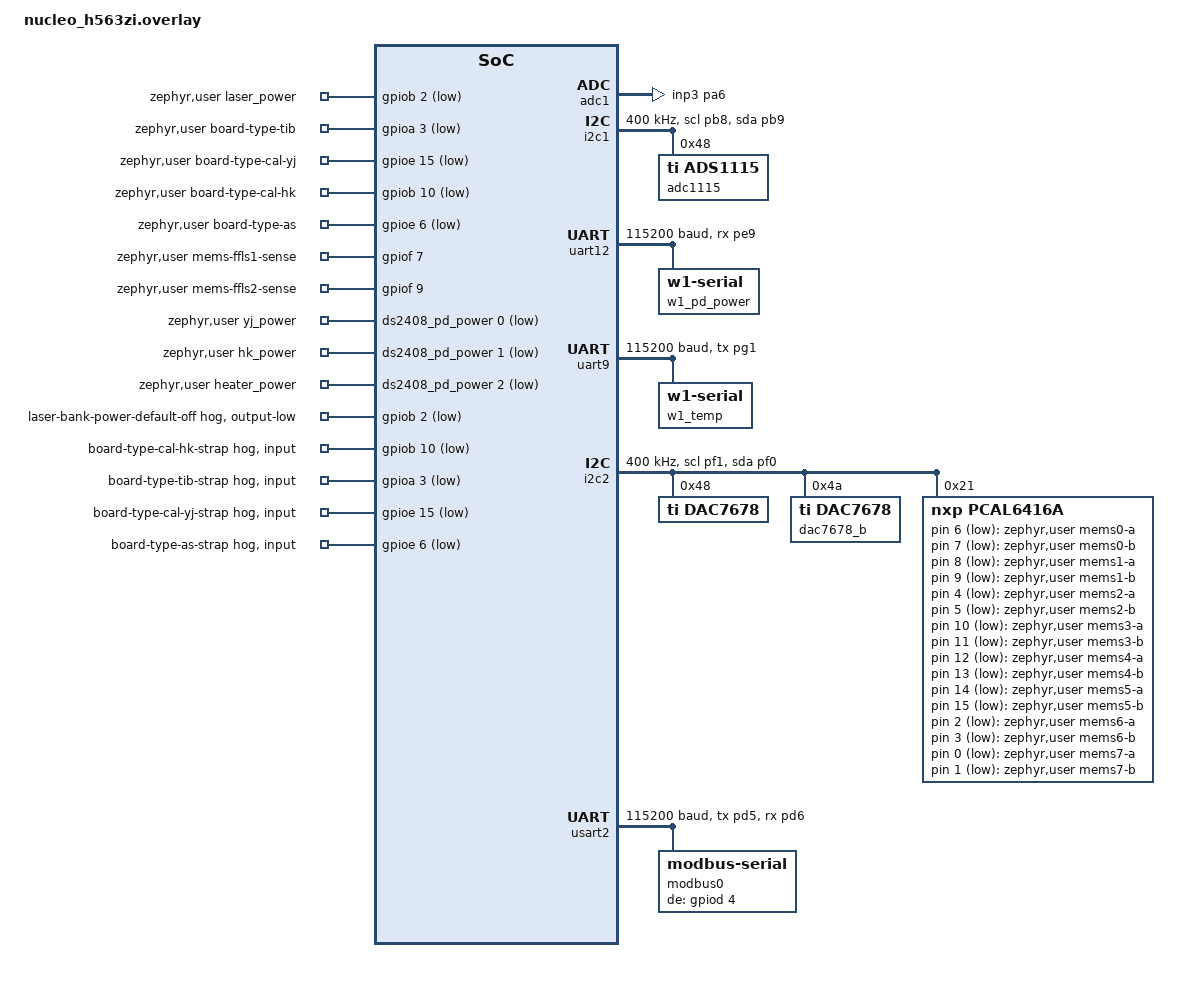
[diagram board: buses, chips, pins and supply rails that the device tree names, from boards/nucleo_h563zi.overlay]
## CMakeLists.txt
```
#-------------------------------------------------------------------------------
# HiSPEC-TIB Zephyr Application
#
# Copyright (c) 2021 Nordic Semiconductor ASA
# SPDX-License-Identifier: Apache-2.0

cmake_minimum_required(VERSION 3.13.1)

if(NOT SYSBUILD)
    message(FATAL_ERROR "HISPEC requires MCUboot: use west build --sysbuild and app/build-ota (or app/build-ota-timing).")
endif()

find_package(Zephyr REQUIRED HINTS $ENV{ZEPHYR_BASE})

if(NOT CONFIG_COO_OTA OR NOT CONFIG_BOOTLOADER_MCUBOOT OR NOT CONFIG_MCUBOOT_GENERATE_CONFIRMED_IMAGE)
    message(FATAL_ERROR "HISPEC requires OTA and MCUboot confirmed USB images in every build.")
endif()

project(app LANGUAGES C)

set(HISPEC_BUILD_VERSION_HEADER
        ${CMAKE_CURRENT_BINARY_DIR}/generated/hispec_build_version.h)

add_custom_target(hispec_build_version
        COMMAND ${CMAKE_COMMAND}
                -DSOURCE_DIR=${CMAKE_CURRENT_SOURCE_DIR}
                -DOUTPUT_FILE=${HISPEC_BUILD_VERSION_HEADER}
                -P ${CMAKE_CURRENT_SOURCE_DIR}/cmake/git_build_version.cmake
        BYPRODUCTS ${HISPEC_BUILD_VERSION_HEADER}
        COMMENT "Generating HISPEC git build version")

target_include_directories(app PRIVATE
        ${CMAKE_CURRENT_BINARY_DIR}/generated
)

add_dependencies(app hispec_build_version)

target_sources(app PRIVATE
        src/main.c
        src/app_identity.c
        src/app_settings.c
        src/attenuator.c
        src/attenuator_calibration.c
        src/calibration_fit.c
        src/calibration_storage.c
        src/laser_calibration.c
        src/attenuator_command.c
        src/command.c
        src/devices.c
        src/housekeeping.c
        src/laser_command.c
        src/lasers.c
        src/laserbank_tempcontrol.c
        src/maiman.c
        src/mems_command.c
        src/photodiode.c
        src/photodiode_command.c
        src/throughput_command.c
        src/throughput_monitor.c
        src/mems_switching.c
)

target_sources_ifdef(CONFIG_SNTP app PRIVATE
        src/sntp_sync.c
)
```

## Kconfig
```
# Copyright (c) 2021 Nordic Semiconductor ASA
# SPDX-License-Identifier: Apache-2.0
#
# This file is the application Kconfig entry point. All application Kconfig
# options can be defined here or included via other application Kconfig files.
# You can browse these options using the west targets menuconfig (terminal) or
# guiconfig (GUI).

menu "Zephyr"
source "Kconfig.zephyr"
endmenu

config NET_DHCPV4_OPTION_NTP_SERVER
	default y if SNTP && NET_DHCPV4

config APP_DEFAULT_DNS_SERVER
	string "Default manual DNS server IPv4 address"
	default "0.0.0.0"
	help
	  Default app-owned manual DNS server stored in the initial settings
	  snapshot. Use 0.0.0.0 to leave manual DNS disabled.

config APP_DEFAULT_NTP_SERVER
	string "Default manual NTP server IPv4 address"
	default "0.0.0.0"
	help
	  Default app-owned manual NTP server stored in the initial settings
	  snapshot. The current settings schema stores IPv4 strings, not
	  hostnames. Use 0.0.0.0 to prefer DHCP-provided NTP.

config SET_SWITCH_STATE_AT_BOOT
	bool "Reassert persisted MEMS static switch state at boot"
	default y
	help
	  If enabled, boot initializes each MEMS switch target from the last
	  user-commanded static state stored in app settings. The first MEMS
	  service tick then resends that pulse because firmware cannot verify
	  physical switch position across reboot or offline changes.

config RESUME_TOGGLE_STATE_AT_BOOT
	bool "Resume persisted MEMS toggle and split requests at boot"
	default n
	help
	  If enabled, boot restarts persisted MEMS toggle/split requests using
	  their originally commanded duration. Runtime remaining time is not
	  preserved across reboot because doing so would require frequent NVS
	  writes while switching.

choice SNTP_LOG_LEVEL_CHOICE
	default SNTP_LOG_LEVEL_DBG if SNTP
endchoice

module = APP
module-str = APP
source "subsys/logging/Kconfig.template.log_config"

module = MAIMAN
module-str = Maiman Modbus driver
source "subsys/logging/Kconfig.template.log_config"

module = LASERS
module-str = Laser control
source "subsys/logging/Kconfig.template.log_config"
```

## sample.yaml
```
sample:
  description: HiSPEC-TIB application
  name: hispec-tib-app
common:
  build_only: true
  integration_platforms:
    - nucleo_h563zi
tests:
  app.default: {}
  app.debug:
    extra_overlay_confs:
      - debug.conf
```

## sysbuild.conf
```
# Observatory policy: integrity-checked images on the trusted instrument network.
SB_CONFIG_BOOTLOADER_MCUBOOT=y
SB_CONFIG_BOOT_SIGNATURE_TYPE_NONE=y
SB_CONFIG_MCUBOOT_MODE_SWAP_USING_OFFSET=y
```

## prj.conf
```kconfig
# HiSPEC-TIB Application Configuration
# Copyright (c) 2025 Caltech Optical Observatories
# SPDX-License-Identifier: Apache-2.0

# Bring-up diagnostics. Thread names and monitor data feed thread_analyzer and
# crash output; keep enabled while stack sizing and worker ownership are moving.
# Later removal command: set these three symbols to n after thread stacks settle.
CONFIG_THREAD_MONITOR=y
CONFIG_THREAD_NAME=y
CONFIG_DEBUG_THREAD_INFO=y

# Assertions and stack sentinels are useful during board bring-up because they
# fail close to the bad API use or stack overflow. Production firmware may turn
# them off after field soak testing.
# Later removal command: set CONFIG_ASSERT=n and CONFIG_STACK_SENTINEL=n.
CONFIG_ASSERT=y
CONFIG_STACK_SENTINEL=y

# General OS and logging. Deferred mode keeps LOG_* output out of timing
# paths. Serial command responses use printk heavily, including per-character
# help text, so keep printk off the deferred logger to avoid log-buffer drops.
CONFIG_LOG=y
CONFIG_LOG_MODE_IMMEDIATE=n
CONFIG_LOG_PRINTK=n
CONFIG_LOG_BACKEND_SHOW_COLOR=n
# One shared deferred-log buffer; this costs 2 KiB total, not per module.
CONFIG_LOG_BUFFER_SIZE=2048
# Keep deferred logging above SNTP so slow clock sync cannot delay diagnostics.
CONFIG_LOG_PROCESS_THREAD_CUSTOM_PRIORITY=y
CONFIG_LOG_PROCESS_THREAD_PRIORITY=13
# Global rate-limit support. Code still has to use LOG_*_RATELIMIT_* at repeated
# call sites; this does not automatically throttle every LOG_ERR.
CONFIG_LOG_RATELIMIT=y
CONFIG_LOG_RATELIMIT_INTERVAL_MS=10000

# Per-subsystem debug controls. Keep ADC/I2C quiet during timing diagnostics;
# their logs can be re-enabled for focused bus bring-up. Photodiode sampling
# owns bounded ADC failure reporting so a missing ADC cannot flood the logger.
CONFIG_NVS_LOG_LEVEL_DBG=n
CONFIG_ADC_LOG_LEVEL_OFF=y
CONFIG_GPIO_LOG_LEVEL_DBG=n
CONFIG_I2C_LOG_LEVEL_DBG=n
#CONFIG_COO_MQTT_LOG_LEVEL_INF=n
CONFIG_COO_MQTT_LOG_LEVEL_WRN=y
CONFIG_MAIMAN_LOG_LEVEL_INF=y
CONFIG_LASERS_LOG_LEVEL_INF=y


# Main and system-workqueue stacks. Networking, MQTT, settings, and JSON parsing
# all run early enough that conservative stack sizes are more useful than tight
# release sizing right now.
# Later trimming command: lower these after thread_analyzer shows stable margin.
CONFIG_MAIN_STACK_SIZE=8192
CONFIG_MAIN_THREAD_PRIORITY=4
CONFIG_SYSTEM_WORKQUEUE_STACK_SIZE=2048
# Zephyr Modbus client RX completion runs on the system workqueue. Keep it
# preemptible: MEMS (0), PD (1), Modbus/system (2), throughput (3), MQTT (4).
# Received frames must be parsed before throughput math can consume the
# caller's response deadline. Blocking hardware work stays on the app queue.
CONFIG_SYSTEM_WORKQUEUE_PRIORITY=2

# Console and formatted output. printk/stdout/UART console are used by Zephyr
# logging and serial bring-up; floating-point printf is used for engineering
# telemetry and calibration/status text.
# Later removal command: set CONFIG_CBPRINTF_FP_SUPPORT=n if all formatted
# floats are removed from console/MQTT responses.
CONFIG_PRINTK=y
CONFIG_CBPRINTF_FP_SUPPORT=y
CONFIG_STDOUT_CONSOLE=y
CONFIG_CONSOLE=y
CONFIG_UART_CONSOLE=y
CONFIG_CONSOLE_SUBSYS=y
CONFIG_CONSOLE_GETCHAR=y
CONFIG_CONSOLE_GETCHAR_BUFSIZE=128

# Stack initialization and automatic thread reports catch stack margin problems.
# The analyzer is intentionally noisy-but-bounded at 20 s, not a fast loop.
# Later removal command: set CONFIG_THREAD_ANALYZER_AUTO=n, then disable
# CONFIG_THREAD_ANALYZER and CONFIG_INIT_STACKS when stack sizes are settled.
CONFIG_INIT_STACKS=y
CONFIG_THREAD_ANALYZER=n
CONFIG_THREAD_ANALYZER_AUTO=n
#CONFIG_THREAD_ANALYZER_AUTO_INTERVAL=20

# JSON parsing/formatting is used by command payloads and MQTT/status messages.
# Attenuator, MEMS route-loss, photodiode calibration, and throughput commands
# parse numeric JSON fields as float/double; without JSON FP support those fields
# look missing even when the payload contains them.
CONFIG_JSON_LIBRARY=y
CONFIG_JSON_LIBRARY_FP_SUPPORT=y

# Hardware single precision with shared thread context; fitting stays double.
CONFIG_FPU=y
CONFIG_FPU_SHARING=y
# Scientific math for attenuator calibration. Leave ZSL_SINGLE_PRECISION unset.
CONFIG_ZSL=y

# COO Commons library and app defaults. These are app-level defaults; persisted
# settings can override broker/DNS/NTP values at runtime.
CONFIG_COO_COMMONS=y
CONFIG_COO_NETWORK=y
CONFIG_COO_MQTT=y
CONFIG_COO_JSON=y
CONFIG_COO_CMD_SERIAL_GUARD=y
CONFIG_COO_CMD_SERIAL_GUARD_DEFAULT_SECONDS=30
CONFIG_COO_MQTT_BROKER_HOSTNAME="hispec.caltech.edu"
CONFIG_COO_MQTT_BROKER_PORT="1883"
CONFIG_COO_MQTT_PAYLOAD_SIZE=2304
# Command payload storage is split from MQTT transport buffers so queue/runtime
# RAM can be tuned independently after worst-case response sizing is measured.
CONFIG_COO_CMD_PAYLOAD_SIZE=2048
CONFIG_APP_DEFAULT_DNS_SERVER="8.8.8.8"
# time.nist.gov resolved IPv4; app settings currently store NTP as IPv4 only.
CONFIG_APP_DEFAULT_NTP_SERVER="132.163.96.4"


# I2C bus core. Device drivers below are selected by devicetree/Kconfig, but the
# bus subsystem itself is explicit because most board devices depend on it.
CONFIG_I2C=y


# DAC support for attenuators. CONFIG_DAC7X78 is the out-of-tree DAC7578/DAC7678
# module driver from west.yml; DAC nodes in the overlay instantiate devices.
CONFIG_DAC=y
CONFIG_DAC7X78=y



# GPIO, 1-Wire, and external GPIO expanders. DS2408 is explicit because it is an
# out-of-tree driver; W1/DS18B20 support is used for housekeeping temperature.
CONFIG_GPIO=y
CONFIG_W1=y
CONFIG_W1_NET=y
CONFIG_W1_ZEPHYR_SERIAL=y
CONFIG_W1_ZEPHYR_SERIAL_BIT_TIMEOUT=5000
CONFIG_GPIO_DS2408=y
# DS2408 must initialize before GPIO hogs can apply overlay defaults to DS2408
# pins. Keep this ordering paired with the overlay relay defaults.
CONFIG_GPIO_DS2408_INIT_PRIORITY=80
CONFIG_GPIO_HOGS_INIT_PRIORITY=90

# PCAL64XXA is selected by its devicetree compatible when the node is enabled.
# It is intentionally left commented to document the dependency without forcing
# the driver globally. Removal command: delete this commented line once stable.
# CONFIG_GPIO_PCAL64XXA=y

# ADC for photodiodes. ADS1X1X is selected by devicetree, so the commented line
# is a reminder rather than a needed enable. Removal command: delete the comment
# if the overlay remains the only ADC source of truth.
CONFIG_ADC=y
# CONFIG_ADC_ADS1X1X=y
# Photodiode adc_read() waits on the ADS1X1X acquisition thread, so keep the
# driver completion path above the preemptible system workqueue.
CONFIG_ADC_ADS1X1X_ACQUISITION_THREAD_PRIO=0

# Sensor core is needed by DS18B20 and STM32 internal sensors. LED is currently
# board-diagnostic support; if no LED diagnostics remain, it is a trim candidate.
# Later removal command for LED: set CONFIG_LED=n and remove LED devicetree use.
CONFIG_SENSOR=y
CONFIG_LED=y

# UART and Modbus for Maiman lasers. UART interrupt-driven mode is required by
# Zephyr serial/Modbus RTU paths. UART line control is disabled because RS-485
# direction control is not currently using RTS/DTR line-control APIs.
CONFIG_SERIAL=y
CONFIG_UART_INTERRUPT_DRIVEN=y
CONFIG_UART_LINE_CTRL=n
CONFIG_MODBUS=y
CONFIG_MODBUS_SERIAL=y
CONFIG_MODBUS_ROLE_CLIENT=y
# Maiman reference tooling uses 115200 8N1. Zephyr's compliant Modbus default
# forces no-parity RTU to 2 stop bits unless this option is enabled.
CONFIG_MODBUS_NONCOMPLIANT_SERIAL_MODE=y
# DEBUG enables Zephyr's stock Modbus messages and packet dumps.
CONFIG_MODBUS_LOG_LEVEL_WRN=y

# Storage: direct NVS for persistent app settings. MPU flash write permission is
# required on this SoC so NVS can update the flash partition at runtime.
CONFIG_FLASH=y
CONFIG_FLASH_PAGE_LAYOUT=y
CONFIG_FLASH_MAP=y
CONFIG_NVS=y
CONFIG_MPU_ALLOW_FLASH_WRITE=y

# Watchdog and reboot support. Reboot is used by commands and watchdog recovery paths.
CONFIG_WATCHDOG=y
CONFIG_REBOOT=y

# Network stack: Ethernet, IPv4, TCP/UDP, DHCP. IPv6 is explicitly off to keep
# address handling and memory use focused during bring-up.
CONFIG_NETWORKING=y
CONFIG_NET_LOG=y
CONFIG_NET_L2_ETHERNET=y
CONFIG_NET_TCP=y
CONFIG_NET_UDP=y
CONFIG_NET_IPV4=y
CONFIG_NET_DHCPV4=y
CONFIG_NET_IPV6=n

# Network policy. The app-owned network helper applies DHCP/static/fallback from
# main(), after hardware has reached its boot state. Keep Zephyr
# NET_CONFIG_AUTO_INIT off so net_config does not apply a static address or wait
# on interface bring-up before main(). Connection manager still owns Zephyr L4
# monitoring/reconnect events after main starts.
CONFIG_NET_CONNECTION_MANAGER=y
CONFIG_NET_HOSTNAME_ENABLE=y
CONFIG_NET_BUF_RX_COUNT=100
CONFIG_NET_MGMT_EVENT=y
CONFIG_NET_MGMT=y
CONFIG_NET_MGMT_EVENT_STACK_SIZE=1600
CONFIG_NET_CONFIG_SETTINGS=y
CONFIG_NET_CONFIG_AUTO_INIT=n
CONFIG_NET_CONFIG_INIT_TIMEOUT=1
# These NET_CONFIG_MY_* strings are compile-time app defaults consumed by
# network.c/app_settings.c, not addresses Zephyr auto-applies before main().
CONFIG_NET_CONFIG_MY_IPV4_ADDR="192.168.1.111"
CONFIG_NET_CONFIG_MY_IPV4_NETMASK="255.255.255.0"
CONFIG_NET_CONFIG_MY_IPV4_GW="192.168.1.1"
CONFIG_NETWORK_HELPER_DHCP_TIMEOUT_MS=6000

# DNS and time sync. DNS is needed for broker/NTP names; SNTP owns wall-clock
# sync and is also backed by the numeric app default above.
CONFIG_DNS_RESOLVER=y
CONFIG_DNS_SERVER_IP_ADDRESSES=y
CONFIG_DNS_SERVER1="8.8.8.8"
CONFIG_SNTP=y

# Sockets for MQTT. TLS is off for the current internal broker path; enabling it
# later will require certificate storage and larger socket/MQTT buffers.
CONFIG_NET_SOCKETS=y
CONFIG_NET_SOCKETS_SOCKOPT_TLS=n

# MQTT library. MQTT v5 is used by the command/status path; keep TLS paired with
# the socket TLS setting above.
CONFIG_MQTT_LIB=y
CONFIG_MQTT_LIB_TLS=n
CONFIG_MQTT_KEEPALIVE=60
CONFIG_MQTT_VERSION_5_0=y

# Random number generation. STM32 entropy is preferred; TEST_RANDOM_GENERATOR is
# a development fallback that prevents networking/MQTT bring-up from blocking on
# entropy policy. Remove before production security review if true randomness is
# required: set CONFIG_TEST_RANDOM_GENERATOR=n and verify STM32 entropy remains.
CONFIG_ENTROPY_GENERATOR=y
CONFIG_TEST_RANDOM_GENERATOR=y

# LSE drives native uptime through LPTIM, independent of the HSI CPU clock.
# PM is a driver dependency; the overlay removes CPU stop states, so idle
# cannot stop the peripherals used for streaming. LSI remains on for IWDG.
CONFIG_PM=y
CONFIG_STM32_LPTIM_TIMER=y
CONFIG_SYS_CLOCK_TICKS_PER_SEC=4096
# Fixed LPTIM reload avoids the workload-dependent uptime gain measured with
# tickless reloads. Cost: 4096 timer IRQs/s, about 0.9 percentage points more CPU.
CONFIG_TICKLESS_KERNEL=n
CONFIG_RTC=y

# One MQTT-output wakeup plus Zephyr socket-service eventfd; descriptors also
# cover MQTT, SNTP, DNS and the OTA SMP socket in the integration build.
CONFIG_ZVFS_EVENTFD=y
CONFIG_ZVFS_EVENTFD_MAX=2
CONFIG_ZVFS_OPEN_MAX=10

# All HISPEC builds use MCUboot; USB and OTA share this app configuration.
# OTA: image management only, admitted by the COO maintenance window.
# Sysbuild supplies matching offset-swap geometry and image size reservations.
CONFIG_COO_OTA=y
CONFIG_BOOTLOADER_MCUBOOT=y
CONFIG_MCUBOOT_GENERATE_CONFIRMED_IMAGE=y
CONFIG_STREAM_FLASH=y
CONFIG_IMG_MANAGER=y
CONFIG_MCUBOOT_IMG_MANAGER=y
CONFIG_IMG_ERASE_PROGRESSIVELY=y
CONFIG_ZCBOR=y
CONFIG_MCUMGR=y
CONFIG_MCUMGR_GRP_IMG=y
CONFIG_MCUMGR_TRANSPORT_UDP=y
CONFIG_MCUMGR_TRANSPORT_UDP_IPV4=y
CONFIG_MCUMGR_TRANSPORT_UDP_AUTOMATIC_INIT=n
CONFIG_MCUMGR_TRANSPORT_NETBUF_SIZE=1024
CONFIG_MCUMGR_TRANSPORT_WORKQUEUE_STACK_SIZE=4096
# Default 3 outranks main (4). Upload work at 8 lets main, system/Modbus RX (2),
# command (6), and app blocking (7) work run, including watchdog servicing.
CONFIG_MCUMGR_TRANSPORT_WORKQUEUE_THREAD_PRIO=8
CONFIG_MCUMGR_MGMT_NOTIFICATION_HOOKS=y
CONFIG_MCUMGR_SMP_COMMAND_STATUS_HOOKS=y
CONFIG_MCUMGR_GRP_IMG_ALLOW_CONFIRM_NON_ACTIVE_IMAGE_SECONDARY=n
CONFIG_MCUMGR_GRP_IMG_ALLOW_CONFIRM_NON_ACTIVE_IMAGE_ANY=n
CONFIG_MCUMGR_GRP_IMG_ALLOW_CONFIRM_NON_ACTIVE_SLOT=n
CONFIG_MCUMGR_GRP_IMG_ALLOW_ERASE_PENDING=n
CONFIG_MCUMGR_GRP_IMG_TOO_LARGE_SYSBUILD=y
```

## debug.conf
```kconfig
# HiSPEC timing-debug configuration fragment.
#
# Use as a separate build so normal firmware stays release-like:
#   ./.venv/bin/west build --sysbuild \
#     --board=nucleo_h563zi/stm32h563xx \
#     --build-dir ./hispec-tib/app/build-ota-timing \
#     ./hispec-tib/app -- -Dapp_EXTRA_CONF_FILE=debug.conf
#
# This profile is for finding scheduler, CPU, stack, and thread-runtime causes
# of missed timing. It intentionally avoids CONFIG_DEBUG_OPTIMIZATIONS because
# -Og changes the timing we are trying to measure.

# Keep deferred logging and prevent timing-sensitive threads from blocking on a
# full log buffer. Periodic analyzer output is useful but non-critical.
CONFIG_LOG=y
CONFIG_LOG_MODE_IMMEDIATE=n
CONFIG_LOG_MODE_OVERFLOW=y
CONFIG_LOG_BLOCK_IN_THREAD=n
CONFIG_LOG_BUFFER_SIZE=16384
CONFIG_LOG_PROCESS_THREAD_STACK_SIZE=2048


CONFIG_COO_MQTT_LOG_LEVEL_INF=y
CONFIG_NVS_LOG_LEVEL_DBG=n
CONFIG_ADC_LOG_LEVEL_OFF=y
CONFIG_GPIO_LOG_LEVEL_DBG=n
CONFIG_I2C_LOG_LEVEL_DBG=n


# Thread inventory, names, and stack watermarks.
CONFIG_THREAD_MONITOR=y
CONFIG_THREAD_NAME=y
CONFIG_THREAD_STACK_INFO=y
CONFIG_INIT_STACKS=y

# Kernel runtime accounting. The timing-functions backend gives higher
# resolution than tick-derived accounting on this target.
CONFIG_THREAD_RUNTIME_STATS=y
CONFIG_THREAD_RUNTIME_STATS_USE_TIMING_FUNCTIONS=y
CONFIG_SCHED_THREAD_USAGE=y
CONFIG_SCHED_THREAD_USAGE_ALL=y
CONFIG_SCHED_THREAD_USAGE_ANALYSIS=y
CONFIG_SCHED_THREAD_USAGE_AUTO_ENABLE=y

# Low-rate thread summaries: CPU share, longest scheduling frame, priority, and
# stack usage. The analyzer runs at the lowest app priority by default.
CONFIG_THREAD_ANALYZER=y
CONFIG_THREAD_ANALYZER_USE_LOG=y
CONFIG_THREAD_ANALYZER_AUTO=y
CONFIG_THREAD_ANALYZER_AUTO_INTERVAL=30
CONFIG_THREAD_ANALYZER_LONG_FRAME_PER_INTERVAL=y
CONFIG_THREAD_ANALYZER_PRINT_THREAD_PRIORITY=y
CONFIG_THREAD_ANALYZER_ISR_STACK_USAGE=y

# Coarse total CPU load every 10 s. This selects Zephyr tracing hooks, but uses
# only the lightweight built-in CPU-load logger in this first pass.
CONFIG_CPU_LOAD=y
CONFIG_CPU_LOAD_LOG_PERIODICALLY=10000

# Leave richer host-captured tracing off initially. If thread runtime stats show
# preemption or a specific actor but not root cause, move next to SystemView or
# Percepio with ST-LINK/SWO capture.
CONFIG_SEGGER_SYSTEMVIEW=n
CONFIG_PERCEPIO_TRACERECORDER=n
```

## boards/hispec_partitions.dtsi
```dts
/* Shared application/MCUboot layout for the 2 MiB STM32H563.
 * Keep OTA reception and NVS writes in bank 2 while the app runs from bank 1.
 * Equal 832 KiB slots leave 128 KiB unused at the end of bank 1 and give NVS
 * 24 normal-flash erase sectors; no high-cycle-data option bytes are required.
 */
&boot_partition {
	reg = <0x00000000 DT_SIZE_K(64)>;
};

&slot0_partition {
	reg = <0x00010000 DT_SIZE_K(832)>;
};

&slot1_partition {
	reg = <0x00100000 DT_SIZE_K(832)>;
};

&flash0 {
	partitions {
		/delete-node/ partition@1f0000;

		storage_partition: partition@1d0000 {
			compatible = "zephyr,mapped-partition";
			label = "storage";
			reg = <0x001d0000 DT_SIZE_K(192)>;
		};
	};
};
```

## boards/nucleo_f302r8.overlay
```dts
/*
 * Copyright (c) 2021 Nordic Semiconductor ASA
 * SPDX-License-Identifier: Apache-2.0
 */

/* This devicetree overlay file will be automatically picked by the Zephyr
 * build system when building the sample for the nucleo_f302r8 board. It shows
 * how the example-application can be built on sample boards already provided
 * by Zephyr.
 */

/ {
	example_sensor: example-sensor {
		compatible = "zephyr,example-sensor";
		input-gpios = <&gpioc 13 (GPIO_PULL_UP | GPIO_ACTIVE_LOW)>;
	};

	blink_led: blink-led {
		compatible = "blink-gpio-led";
		led-gpios = <&gpiob 13 GPIO_ACTIVE_HIGH>;
		blink-period-ms = <1000>;
	};
};

&gpioc {
	status = "okay";
};

/* Define flash partitions for NVS persistent storage */
&flash0 {
	partitions {
		compatible = "fixed-partitions";
		#address-cells = <1>;
		#size-cells = <1>;

		/* Reserve last 8KB of flash for settings/NVS */
		storage_partition: partition@3e000 {
			label = "storage";
			reg = <0x0003e000 0x00002000>;
		};
	};
};
```

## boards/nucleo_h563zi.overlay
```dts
/*
 * HiSPEC-TIB Nucleo-H563ZI overlay
 *
 * Matches app/src expectations:
 * - DT_NODELABEL(adc1115), DT_NODELABEL(dac7578), DT_NODELABEL(pcal6416a)
 * - DT_PATH(zephyr_user) with power/mems GPIO definitions
 * - zephyr,modbus-serial node for modbus_iface_get_by_name()
 */

#include "hispec_partitions.dtsi"

/ {
	chosen {
		/* Explicitly bind Zephyr settings/NVS backend to on-chip flash storage partition. */
		zephyr,settings-partition = &storage_partition;
	};

	zephyr,user {
		laser_power_gpios = <&gpiob 2 (GPIO_ACTIVE_LOW | GPIO_PULL_UP)>; /* CN9 D72 */

		/* Board-type strap inputs are solder jumpers to ground. */
		board-type-tib-gpios = <&gpioa 3 (GPIO_ACTIVE_LOW | GPIO_PULL_UP)>; /* D35 */
		board-type-cal-yj-gpios = <&gpioe 15 (GPIO_ACTIVE_LOW | GPIO_PULL_UP)>; /* D37 */
		board-type-cal-hk-gpios = <&gpiob 10 (GPIO_ACTIVE_LOW | GPIO_PULL_UP)>; /* D36 */
		board-type-as-gpios = <&gpioe 6 (GPIO_ACTIVE_LOW | GPIO_PULL_UP)>; /* D38 */

		mems-ffls1-sense-gpios = <&gpiof 7 (GPIO_ACTIVE_HIGH)>; /* D62 */
		mems-ffls2-sense-gpios = <&gpiof 9 (GPIO_ACTIVE_HIGH)>; /* D63 */

		mems0-a-gpios = <&pcal6416a 6 GPIO_ACTIVE_LOW>;
		mems0-b-gpios = <&pcal6416a 7 GPIO_ACTIVE_LOW>;
		mems1-a-gpios = <&pcal6416a 8 GPIO_ACTIVE_LOW>;
		mems1-b-gpios = <&pcal6416a 9 GPIO_ACTIVE_LOW>;
		mems2-a-gpios = <&pcal6416a 4 GPIO_ACTIVE_LOW>;
		mems2-b-gpios = <&pcal6416a 5 GPIO_ACTIVE_LOW>;
		mems3-a-gpios = <&pcal6416a 10 GPIO_ACTIVE_LOW>;
		mems3-b-gpios = <&pcal6416a 11 GPIO_ACTIVE_LOW>;
		mems4-a-gpios = <&pcal6416a 12 GPIO_ACTIVE_LOW>;
		mems4-b-gpios = <&pcal6416a 13 GPIO_ACTIVE_LOW>;
		mems5-a-gpios = <&pcal6416a 14 GPIO_ACTIVE_LOW>;
		mems5-b-gpios = <&pcal6416a 15 GPIO_ACTIVE_LOW>;
		mems6-a-gpios = <&pcal6416a 2 GPIO_ACTIVE_LOW>;
		mems6-b-gpios = <&pcal6416a 3 GPIO_ACTIVE_LOW>;
		mems7-a-gpios = <&pcal6416a 0 GPIO_ACTIVE_LOW>;
		mems7-b-gpios = <&pcal6416a 1 GPIO_ACTIVE_LOW>;

		yj_power_gpios = <&ds2408_pd_power 0 GPIO_ACTIVE_LOW>; /* DS2408 P1 */
		hk_power_gpios = <&ds2408_pd_power 1 GPIO_ACTIVE_LOW>; /* DS2408 P2 */
		heater_power_gpios = <&ds2408_pd_power 2 GPIO_ACTIVE_LOW>; /* DS2408 P3 */

	};
};

/* The "HSE not used" solder bridges documented in hardware.md disconnect
 * ST-LINK MCO (SB49 OFF) and X3 (SB3/SB4 OFF). Do not inherit HSE bypass.
 * H563ZI HSE uses PH0/PH1; these are distinct from I2C2's PF1/PF0.
 */
&clk_hse {
	status = "disabled";
	/delete-property/ hse-bypass;
};

&clk_hsi {
	status = "okay";
};

&pll {
	/* 64 MHz HSI / 16 * 120 / 2 = 240 MHz SYSCLK, matching board default. */
	div-m = <16>;
	mul-n = <120>;
	div-p = <2>;
	div-q = <4>;
	div-r = <2>;
	clocks = <&clk_hsi>;
	status = "okay";
};

&pll2 {
	/* Keep PLL2_Q at 160 MHz for peripherals inherited from the Nucleo DTS. */
	div-m = <16>;
	mul-n = <120>;
	div-p = <2>;
	div-q = <3>;
	div-r = <2>;
	clocks = <&clk_hsi>;
	status = "okay";
};

&gpiob {
	laser_bank_power_default: laser-bank-power-default {
		gpio-hog;
		gpios = <2 (GPIO_ACTIVE_LOW | GPIO_PULL_UP)>;
		output-low;
		line-name = "laser-bank-power-default-off";
	};

	board_type_cal_hk_default: board-type-cal-hk-default {
		gpio-hog;
		gpios = <10 (GPIO_ACTIVE_LOW | GPIO_PULL_UP)>;
		input;
		line-name = "board-type-cal-hk-strap";
	};
};

&gpioa {
	board_type_tib_default: board-type-tib-default {
		gpio-hog;
		gpios = <3 (GPIO_ACTIVE_LOW | GPIO_PULL_UP)>;
		input;
		line-name = "board-type-tib-strap";
	};
};

&gpioe {
	board_type_cal_yj_default: board-type-cal-yj-default {
		gpio-hog;
		gpios = <15 (GPIO_ACTIVE_LOW | GPIO_PULL_UP)>;
		input;
		line-name = "board-type-cal-yj-strap";
	};

	board_type_as_default: board-type-as-default {
		gpio-hog;
		gpios = <6 (GPIO_ACTIVE_LOW | GPIO_PULL_UP)>;
		input;
		line-name = "board-type-as-strap";
	};
};

/* PA3 is Nucleo D35 and is used as the TIB board strap, so leave it out of
 * ADC1 pinctrl while keeping ADC1 enabled for on-chip VREF/VBAT sensors.
 */
&adc1 {
	pinctrl-0 = <&adc1_inp3_pa6>;
};

/* I2C_A on CN7 (PB8/PB9): ADS1115 only */
&i2c1 {
	status = "okay";
	pinctrl-0 = <&i2c1_scl_pb8 &i2c1_sda_pb9>;
	pinctrl-names = "default";
	clock-frequency = <400000>;

	adc1115: adc1115@48 {
		compatible = "ti,ads1115";
		reg = <0x48>;
		status = "okay";
		#io-channel-cells = <1>;
		#address-cells = <1>;
		#size-cells = <0>;

		channel@0 {
			reg = <0>;
			zephyr,gain = "ADC_GAIN_1";
			zephyr,reference = "ADC_REF_INTERNAL";
			zephyr,acquisition-time = <ADC_ACQ_TIME(ADC_ACQ_TIME_TICKS, 3)>;  /* ADS1115 rate index 3: 64 SPS. */
			zephyr,resolution = <16>;
			zephyr,input-positive = <0>;
		};

		channel@2 {
			reg = <2>;
			zephyr,gain = "ADC_GAIN_1";
			zephyr,reference = "ADC_REF_INTERNAL";
			zephyr,acquisition-time = <ADC_ACQ_TIME(ADC_ACQ_TIME_TICKS, 3)>;
			zephyr,resolution = <16>;
			zephyr,input-positive = <2>;
		};
	};
};

/* Both 1-Wire lines use external pull-ups and UART-generated timing. */
&uart12_rx_pe9 {
	drive-open-drain;
	bias-disable;
};

&uart9_tx_pg1 {
	/delete-property/ bias-pull-up;
	drive-open-drain;
	bias-disable;
};

/* PE9 is UART12 RX; swapping makes it the single-wire TX/RX pin. */
&uart12 {
	status = "okay";
	pinctrl-0 = <&uart12_rx_pe9>;
	pinctrl-names = "default";
	current-speed = <115200>;
	single-wire;
	tx-rx-swap;

	/* 1-Wire bus for DS2408 relay control (CN9 D71 / PE9).
	 * MB1404 requires SB35 OFF and SB67 ON for PE9 connector routing.
	 */
	w1_pd_power: w1-pd-power {
		compatible = "zephyr,w1-serial";
		status = "okay";

		ds2408_pd_power: ds2408-pd-power {
			compatible = "maxim,ds2408";
			status = "okay";
			gpio-controller;
			#gpio-cells = <2>;
			ngpios = <8>;
			init-gpios = <&ds2408_pd_power 0 GPIO_ACTIVE_LOW>,
				     <&ds2408_pd_power 1 GPIO_ACTIVE_LOW>,
				     <&ds2408_pd_power 2 GPIO_ACTIVE_LOW>;
			output-low;
		};
	};
};

&uart9 {
	status = "okay";
	pinctrl-0 = <&uart9_tx_pg1>;
	pinctrl-names = "default";
	current-speed = <115200>;
	single-wire;

	/* 1-Wire bus for DS18B20 temperature sensor (CN9 D64 / PG1). */
	w1_temp: w1-temp {
		compatible = "zephyr,w1-serial";
		status = "okay";

		ds18b20 {
			compatible = "maxim,ds18b20";
			family-code = <0x28>;
			resolution = <12>;
			status = "okay";
		};
	};
};

/* I2C_B on CN9 (PF1/PF0): DAC7678 pair + PCAL6416A GPIO expander */
&i2c2 {
	status = "okay";
	pinctrl-0 = <&i2c2_scl_pf1 &i2c2_sda_pf0>;
	pinctrl-names = "default";
	clock-frequency = <400000>;

	dac7678: dac7678@48 {
		compatible = "ti,dac7678";
		reg = <0x48>;
		status = "okay";
		#io-channel-cells = <1>;
		ti,clear-mode = "disabled";
		ti,reference = "external";
		ti,avdd-microvolt = <3300000>;
		ti,vref-microvolt = <3300000>;
	};

	dac7678_b: dac7678@4a {
		compatible = "ti,dac7678";
		reg = <0x4a>;
		status = "okay";
		#io-channel-cells = <1>;
		ti,clear-mode = "disabled";
		ti,reference = "external";
		ti,avdd-microvolt = <3300000>;
		ti,vref-microvolt = <3300000>;
	};

	pcal6416a: pcal6416a@21 {
		compatible = "nxp,pcal6416a";
		reg = <0x21>;
		status = "okay";
		gpio-controller;
		#gpio-cells = <2>;
		ngpios = <16>;

		/* The external MEMS control line is active-high, but the Nucleo
		 * PCAL drive stage is active-low at the expander pin. These hogs
		 * deliberately omit GPIO_OPEN_DRAIN and idle the switch lines low.
		 */
		mems_drive_default: mems-drive-default {
			gpio-hog;
			gpios = <0 (GPIO_ACTIVE_LOW | GPIO_PULL_UP)>,
				<1 (GPIO_ACTIVE_LOW | GPIO_PULL_UP)>,
				<2 (GPIO_ACTIVE_LOW | GPIO_PULL_UP)>,
				<3 (GPIO_ACTIVE_LOW | GPIO_PULL_UP)>,
				<4 (GPIO_ACTIVE_LOW | GPIO_PULL_UP)>,
				<5 (GPIO_ACTIVE_LOW | GPIO_PULL_UP)>,
				<6 (GPIO_ACTIVE_LOW | GPIO_PULL_UP)>,
				<7 (GPIO_ACTIVE_LOW | GPIO_PULL_UP)>,
				<8 (GPIO_ACTIVE_LOW | GPIO_PULL_UP)>,
				<9 (GPIO_ACTIVE_LOW | GPIO_PULL_UP)>,
				<10 (GPIO_ACTIVE_LOW | GPIO_PULL_UP)>,
				<11 (GPIO_ACTIVE_LOW | GPIO_PULL_UP)>,
				<12 (GPIO_ACTIVE_LOW | GPIO_PULL_UP)>,
				<13 (GPIO_ACTIVE_LOW | GPIO_PULL_UP)>,
				<14 (GPIO_ACTIVE_LOW | GPIO_PULL_UP)>,
				<15 (GPIO_ACTIVE_LOW | GPIO_PULL_UP)>;
			output-low;
			line-name = "mems-drive-default-low";
		};
	};
};

/* USART2 on CN9 for the Modbus laser controller.
 * PD4 is the RS-485 driver-enable line, controlled by Zephyr Modbus as GPIO.
 */
&usart2 {
	status = "okay";
	pinctrl-0 = <&usart2_tx_pd5 &usart2_rx_pd6>;
	pinctrl-names = "default";
	current-speed = <115200>;
	fifo-enable;

	modbus0: modbus0 {
		compatible = "zephyr,modbus-serial";
		status = "okay";
		de-gpios = <&gpiod 4 GPIO_ACTIVE_HIGH>; /* CN9 D54 / USART_B_RTS */
	};
};

/* LSE already clocks the RTC. Use the same crystal for native uptime. */
&lptim4 {
	clocks = <&rcc STM32_CLOCK(APB3, 13)>,
		 <&rcc STM32_SRC_LSE LPTIM4_SEL(3)>;
	st,prescaler = <1>;
};

/* PM is required by the LPTIM driver, not a request for automatic STOP. */
&cpu0 {
	/delete-property/ cpu-power-states;
};
```

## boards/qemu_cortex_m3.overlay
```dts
/*
 * Copyright (c) 2024 Caltech Optical Observatories
 * SPDX-License-Identifier: Apache-2.0
 */

/* This devicetree overlay enables the COO template application to run on
 * QEMU Cortex-M3 emulation. This is useful for testing ARM-specific code,
 * persistent settings, and watchdog behavior without physical hardware.
 *
 * Note: QEMU Cortex-M3 has limited GPIO support, so example_sensor and
 * blink_led devices are disabled. The main application logic, NVS, and
 * watchdog can still be tested. For a complete QEMU test with peripherals,
 * consider native_sim or native_posix targets which have better peripheral
 * emulation.
 */
```

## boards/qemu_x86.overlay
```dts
/*
 * Copyright (c) 2024 Caltech Optical Observatories
 * SPDX-License-Identifier: Apache-2.0
 */

/* This devicetree overlay enables the COO template application to run on
 * QEMU x86 emulation. This is useful for testing logic, persistent settings,
 * and watchdog behavior without physical hardware.
 *
 * Note: QEMU x86 has no GPIO support, so example_sensor and blink_led
 * devices are disabled. The main application logic, NVS, and watchdog
 * can still be tested. For a complete QEMU test with peripherals, consider
 * native_sim or native_posix targets which have better peripheral emulation.
 */
```

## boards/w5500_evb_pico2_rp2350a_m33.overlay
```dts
/* Include RP2350b pin functions: */
#include <dt-bindings/pinctrl/rpi-pico-rp2350b-pinctrl.h>

/ {
	zephyr,user {
		power-gpios = <&gpio0 6 GPIO_ACTIVE_HIGH>;
		mems0-a-gpios = <&pcal6416a 0 GPIO_ACTIVE_HIGH>;
		mems0-b-gpios = <&pcal6416a 1 GPIO_ACTIVE_HIGH>;
		mems1-a-gpios = <&pcal6416a 2 GPIO_ACTIVE_HIGH>;
		mems1-b-gpios = <&pcal6416a 3 GPIO_ACTIVE_HIGH>;
		mems2-a-gpios = <&pcal6416a 4 GPIO_ACTIVE_HIGH>;
		mems2-b-gpios = <&pcal6416a 5 GPIO_ACTIVE_HIGH>;
		mems3-a-gpios = <&pcal6416a 6 GPIO_ACTIVE_HIGH>;
		mems3-b-gpios = <&pcal6416a 7 GPIO_ACTIVE_HIGH>;
		mems4-a-gpios = <&pcal6416a 8 GPIO_ACTIVE_HIGH>;
		mems4-b-gpios = <&pcal6416a 9 GPIO_ACTIVE_HIGH>;
		mems5-a-gpios = <&pcal6416a 10 GPIO_ACTIVE_HIGH>;
		mems5-b-gpios = <&pcal6416a 11 GPIO_ACTIVE_HIGH>;
		mems6-a-gpios = <&pcal6416a 12 GPIO_ACTIVE_HIGH>;
		mems6-b-gpios = <&pcal6416a 13 GPIO_ACTIVE_HIGH>;
		mems7-a-gpios = <&pcal6416a 14 GPIO_ACTIVE_HIGH>;
		mems7-b-gpios = <&pcal6416a 15 GPIO_ACTIVE_HIGH>;
	};
};

&pinctrl {  /* Define UART1 pinmux groups */
//	with the rPI pico2 sdk the pins actually used are
//	UART_TX_PIN GP8
//	UART_RX_PIN GP9
//	I2C0_SDA_PIN GP4
//	I2C0_SCK_PIN GP5
//	I2C1_SDA_PIN GP2
//	I2C1_SCK_PIN GP3
	uart1_pins: uart1_default {
		group1 {
			pinmux = <UART1_TX_P8>;
		};
		group2 {
			pinmux = <UART1_RX_P9>;
			input-enable;
			bias-pull-up;
		};
	};
	i2c0_pins: i2c0_default {
		group1 {
			pinmux = <I2C0_SDA_P4>;
			input-enable;
			bias-pull-up;
		};
		group2 {
			pinmux = <I2C0_SCL_P5>;
			input-enable;
			bias-pull-up;
		};
	};
	i2c1_pins: i2c1_default {
		group1 {
			pinmux = <I2C1_SDA_P2>;
			input-enable;
			bias-pull-up;
		};
		group2 {
			pinmux = <I2C1_SCL_P3>;
			input-enable;
			bias-pull-up;
		};
	};
};


&uart1 {
	status = "okay";
	current-speed = <115200>;                     /* UART baud (optional default) */
	pinctrl-0 = <&uart1_pins>;
	pinctrl-names = "default";
//	rs485-rx-during-tx;                   //we want full duplex
	/* (No flow control by default; ensure /delete-property/ hw-flow-control if set) */

	modbus0: modbus0 {
		compatible = "zephyr,modbus-serial";
		status = "okay";
// We don't have any "de-gpios" or "re-gpios" since we’re not using RS485 driver-enable
// Docs say safe to remove: https://docs.zephyrproject.org/latest/samples/subsys/modbus/rtu_client/README.html#modbus-rtu-client
	};
};


/* Enable and configure I2C0 and I2C1 devices */
&i2c0 {
	status = "okay";
	clock-frequency = <400000>;
	pinctrl-0 = <&i2c0_pins>;
	pinctrl-names = "default";

	/* DAC7578 at I2C address 0x4C */
	dac7578: dac7578@4c {
		status = "okay";
		compatible = "ti,dac7578";
		reg = <0x4C>;
	};

	/* PCAL6416A I/O expander at I2C address 0x20 */
	pcal6416a: pcal6416a@20 {
		status = "okay";
		gpio-controller;
		compatible = "nxp,pcal6416a";
		reg = <0x20>;
		ngpios = <16>;                   /* 16 GPIOs on expander */
		#gpio-cells=<2>;
// We don't use any alert or supply pins
//		int-gpios = <&gpio0 2 GPIO_ACTIVE_LOW>;   /* Example: MCU GPIO0.2 as expander interrupt */
//		reset-gpios = <&gpio0 3 GPIO_ACTIVE_LOW>; /* Example: MCU GPIO0.3 as reset line (if used) */
	};
};

&i2c1 {
	status = "okay";
	clock-frequency = <400000>;
	pinctrl-0 = <&i2c1_pins>;
	pinctrl-names = "default";

	/* ADS1115 ADC at I2C address 0x48 */
	adc1115: adc1115@48 {
		status = "okay";
		compatible = "ti,ads1115";
		reg = <0x48>;
		#io-channel-cells = < 1 >;
		#address-cells = < 1 >;
		#size-cells = < 0 >;

//		I suspect these aren't necessary as its only boottime config that is irrelevant and code uses adc_channel_setup()
//		See also: https://github.com/zephyrproject-rtos/zephyr/discussions/61960
		channel@0 {
			status = "okay";
			reg = <0>;
			zephyr,gain = "ADC_GAIN_1_3";
			zephyr,reference = "ADC_REF_INTERNAL";
			zephyr,acquisition-time = <ADC_ACQ_TIME(ADC_ACQ_TIME_MICROSECONDS, 7813)>; //128Hz
			zephyr,resolution = < 16 >;
			zephyr,input-positive = <0>;
		};
		channel@1 {
			status = "okay";
			reg = <1>;
			zephyr,gain = "ADC_GAIN_1_3";
			zephyr,reference = "ADC_REF_INTERNAL";
			zephyr,acquisition-time = <ADC_ACQ_TIME(ADC_ACQ_TIME_MICROSECONDS, 7813)>; //128Hz
			zephyr,resolution = < 16 >;
			zephyr,input-positive = <1>;
		};
		channel@2 {
			status = "okay";
			reg = <2>;
			zephyr,gain = "ADC_GAIN_1_3";
			zephyr,reference = "ADC_REF_INTERNAL";
			zephyr,acquisition-time = <ADC_ACQ_TIME(ADC_ACQ_TIME_MICROSECONDS, 7813)>; //128Hz
			zephyr,resolution = < 16 >;
			zephyr,input-positive = <1>;
		};
		channel@3 {
			status = "okay";
			reg = <3>;
			zephyr,gain = "ADC_GAIN_1_3";
			zephyr,reference = "ADC_REF_INTERNAL";
			zephyr,acquisition-time = <ADC_ACQ_TIME(ADC_ACQ_TIME_MICROSECONDS, 7813)>; //128Hz
			zephyr,resolution = < 16 >;
			zephyr,input-positive = <1>;
		};
// We don't use any alert or supply pins
//		alert-rdy-gpios = <&gpio0 4 GPIO_ACTIVE_LOW>;  /* Example: ALERT/RDY pin to MCU GPIO0.4 */
//		supply-gpios = <&gpio0 5 GPIO_ACTIVE_HIGH>;    /* Power switch GPIO controlling ADS1115 Vcc */
	};
};


/ {
	chosen {
		zephyr,flash-controller = &qmi;
	};
};

// Need to enable the flash controller
&qmi {
	status = "okay";
};

&flash0 {
	/* Bind this flash controller to a set of named partitions */
	partitions {
		compatible = "fixed-partitions";
		#address-cells = <1>;
		#size-cells = <1>;

		storage_partition: partition@1f8000 {
			label = "storage";
			reg = <0x001f8000 DT_SIZE_K(32)>;  // last 32 KiB of flash
		};
	};
};
```

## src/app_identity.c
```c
/**
 * @file app_identity.c
 * @brief Board-profile MQTT device identity.
 *
 * The selected board strap owns the MQTT device namespace. Command-dispatch
 * helpers format the command, response, warning, and telemetry topic templates.
 */

#include "app_identity.h"

#include "devices.h"

const char *app_mqtt_device_id(void)
{
	switch (devices_board_type()) {
	case HISPEC_BOARD_TIB:
		return "hsfib-tib";
	case HISPEC_BOARD_CAL_HK:
		return "hsfib-rcal";
	case HISPEC_BOARD_CAL_YJ:
		return "hsfib-bcal";
	case HISPEC_BOARD_AS:
		return "hsfib-as";
	case HISPEC_BOARD_UNKNOWN:
	default:
		return "hsfib-unknown";
	}
}
```

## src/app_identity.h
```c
/**
 * @file app_identity.h
 * @brief MQTT device identity selected from the board profile.
 */

#ifndef HISPEC_APP_IDENTITY_H
#define HISPEC_APP_IDENTITY_H

/** @brief Return the MQTT device ID selected from the detected board strap. */
const char *app_mqtt_device_id(void);

#endif /* HISPEC_APP_IDENTITY_H */
```

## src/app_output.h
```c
/*
 * Copyright (c) 2026 Caltech Optical Observatories
 * SPDX-License-Identifier: Apache-2.0
 */

#ifndef HISPEC_APP_OUTPUT_H
#define HISPEC_APP_OUTPUT_H

#include <coo_commons/command_dispatch.h>

/**
 * @file app_output.h
 * @brief Queue app warnings and telemetry without exposing app runtime wiring.
 */

/**
 * Log/queue through the app's configured output path after command_runtime_init().
 * Uses the existing common emitter's payload, delivery, and return contracts.
 * Queue insertion never waits; required delivery retries only after successful
 * enqueue. Warning scratch contention keeps the local log and returns -EAGAIN.
 * Does not publish MQTT or perform hardware I/O. Main owns the output drain.
 */
int app_output_emit(const struct coo_cmd_runtime_emit_args *args);

#endif /* HISPEC_APP_OUTPUT_H */
```

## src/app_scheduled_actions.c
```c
/**
 * @file app_scheduled_actions.c
 * @brief Fixed table of named delayable-work actions.
 *
 * Wrapping k_work_delayable here keeps delayed command side effects explicit:
 * serial guard expiration and delayed reboot are named firmware behaviors.
 *
 * Copyright (c) 2026 Caltech Optical Observatories
 * SPDX-License-Identifier: Apache-2.0
 */

#include "app_scheduled_actions.h"

#include <errno.h>
#include <zephyr/logging/log.h>
#include <zephyr/sys/atomic.h>
#include <zephyr/sys/util.h>

LOG_MODULE_REGISTER(app_scheduled_actions, LOG_LEVEL_INF);

struct app_scheduled_action {
	const char *name;
	struct k_work_delayable work;
	app_scheduled_action_handler_t handler;
	void *user_data;
	atomic_t pending;
};

static struct app_scheduled_action g_actions[APP_SCHEDULED_ACTION_COUNT] = {
	[APP_SCHEDULED_ACTION_SERIAL_GUARD_EXPIRE] = {
		.name = "serial_guard_expire",
	},
	[APP_SCHEDULED_ACTION_REBOOT] = {
		.name = "reboot",
	},
};

static bool g_initialized;

static bool valid_id(enum app_scheduled_action_id id)
{
	return id >= 0 && id < APP_SCHEDULED_ACTION_COUNT;
}

static void scheduled_action_work_handler(struct k_work *work)
{
	struct k_work_delayable *dwork = k_work_delayable_from_work(work);
	struct app_scheduled_action *action =
		CONTAINER_OF(dwork, struct app_scheduled_action, work);
	enum app_scheduled_action_id id =
		(enum app_scheduled_action_id)(action - g_actions);

	(void)atomic_clear(&action->pending);

	if (action->handler == NULL) {
		LOG_WRN("Scheduled action %s has no handler", action->name);
		return;
	}

	action->handler(id, action->user_data);
}

int app_scheduled_actions_init(void)
{
	if (g_initialized) {
		return 0;
	}

	for (size_t i = 0; i < ARRAY_SIZE(g_actions); ++i) {
		/* k_work_init_delayable() binds each named action to the Zephyr
		 * system workqueue; no action creates its own thread.
		 */
		k_work_init_delayable(&g_actions[i].work, scheduled_action_work_handler);
		(void)atomic_clear(&g_actions[i].pending);
	}

	g_initialized = true;
	return 0;
}

int app_scheduled_action_register(enum app_scheduled_action_id id,
				  app_scheduled_action_handler_t handler,
				  void *user_data)
{
	if (!valid_id(id) || handler == NULL) {
		return -EINVAL;
	}
	if (!g_initialized) {
		return -EAGAIN;
	}

	g_actions[id].handler = handler;
	g_actions[id].user_data = user_data;
	return 0;
}

int app_scheduled_action_schedule(enum app_scheduled_action_id id,
				  k_timeout_t delay)
{
	int rc;

	if (!valid_id(id)) {
		return -EINVAL;
	}
	if (!g_initialized) {
		return -EAGAIN;
	}

	/* k_work_reschedule() is the Zephyr API that implements "do this later
	 * unless refreshed"; it updates the same pending work item in place.
	 */
	rc = k_work_reschedule(&g_actions[id].work, delay);
	if (rc >= 0) {
		(void)atomic_set(&g_actions[id].pending, 1);
	}
	return rc;
}

int app_scheduled_action_cancel(enum app_scheduled_action_id id)
{
	if (!valid_id(id)) {
		return -EINVAL;
	}
	if (!g_initialized) {
		return -EAGAIN;
	}

	/* k_work_cancel_delayable() prevents a pending delayed action from being
	 * submitted; work already running may still finish in the system queue.
	 */
	(void)atomic_clear(&g_actions[id].pending);
	return k_work_cancel_delayable(&g_actions[id].work);
}

bool app_scheduled_action_is_pending(enum app_scheduled_action_id id)
{
	if (!valid_id(id)) {
		return false;
	}

	return atomic_get(&g_actions[id].pending) != 0;
}

int app_scheduled_action_remaining_ms(enum app_scheduled_action_id id,
				      int64_t *remaining_ms)
{
	k_ticks_t remaining_ticks;

	if (!valid_id(id) || remaining_ms == NULL) {
		return -EINVAL;
	}
	if (!g_initialized) {
		return -EAGAIN;
	}

	/* k_work_delayable_remaining_get() reads the live Zephyr timer state.
	 * It returns zero when the action is not currently scheduled.
	 */
	remaining_ticks = k_work_delayable_remaining_get(&g_actions[id].work);
	*remaining_ms = k_ticks_to_ms_floor64(remaining_ticks);
	return 0;
}

const char *app_scheduled_action_name(enum app_scheduled_action_id id)
{
	if (!valid_id(id)) {
		return "unknown";
	}

	return g_actions[id].name;
}
```

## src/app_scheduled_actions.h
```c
/**
 * @file app_scheduled_actions.h
 * @brief Small named k_work_delayable actions used by command handlers.
 *
 * This is a fixed firmware-action table, not a user-programmable scheduler.
 * Callbacks run in Zephyr system workqueue context.
 *
 * Copyright (c) 2026 Caltech Optical Observatories
 * SPDX-License-Identifier: Apache-2.0
 */

#ifndef HISPEC_APP_SCHEDULED_ACTIONS_H
#define HISPEC_APP_SCHEDULED_ACTIONS_H

#include <stdbool.h>
#include <stdint.h>
#include <zephyr/kernel.h>

/**
 * @brief Explicit delayed actions owned by the application.
 *
 * Keep this enum short. These are named system behaviors, not user-created
 * jobs, so command handlers can reschedule/cancel known actions without
 * spawning arbitrary threads or timers.
 */
enum app_scheduled_action_id {
	APP_SCHEDULED_ACTION_SERIAL_GUARD_EXPIRE = 0,
	APP_SCHEDULED_ACTION_REBOOT,
	APP_SCHEDULED_ACTION_COUNT,
};

typedef void (*app_scheduled_action_handler_t)(enum app_scheduled_action_id id,
					       void *user_data);

/**
 * @brief Initialize all named delayable-work objects.
 *
 * This wraps Zephyr's k_work_delayable API so the rest of the app deals with
 * stable action names instead of scattered work items.
 */
int app_scheduled_actions_init(void);

/**
 * @brief Attach the callback for one named action.
 *
 * The callback runs in Zephyr's system workqueue context. It must stay short:
 * update state, log, enqueue work, or schedule another thread to do slow I/O.
 */
int app_scheduled_action_register(enum app_scheduled_action_id id,
				  app_scheduled_action_handler_t handler,
				  void *user_data);

/**
 * @brief Schedule or reschedule one named action after @p delay.
 *
 * Uses k_work_reschedule(), so repeated calls refresh the same delayed action
 * rather than creating another task or timer.
 */
int app_scheduled_action_schedule(enum app_scheduled_action_id id,
				  k_timeout_t delay);

/**
 * @brief Cancel one named action if it has not run yet.
 */
int app_scheduled_action_cancel(enum app_scheduled_action_id id);

/**
 * @brief Return whether a named action is currently pending.
 */
bool app_scheduled_action_is_pending(enum app_scheduled_action_id id);

/**
 * @brief Get the approximate remaining delay in milliseconds.
 */
int app_scheduled_action_remaining_ms(enum app_scheduled_action_id id,
				      int64_t *remaining_ms);

/**
 * @brief Human-readable name for logs and status output.
 */
const char *app_scheduled_action_name(enum app_scheduled_action_id id);

#endif /* HISPEC_APP_SCHEDULED_ACTIONS_H */
```

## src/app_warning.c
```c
/**
 * @file app_warning.c
 * @brief HISPEC warning topic wrapper around reusable command warning emit.
 *
 * Copyright (c) 2026 Caltech Optical Observatories
 * SPDX-License-Identifier: Apache-2.0
 */

#include "app_warning.h"

#include "app_identity.h"
#include "command.h"

void app_warning_emit(const char *code, const char *msg, const char *context)
{
	char topic[MAX_TOPIC_LEN] = {0};

	if (app_mqtt_format_data_topic("warning", topic, sizeof(topic)) != 0) {
		return;
	}

	(void)coo_cmd_warning_emit(&outbound_queue, topic, code, msg, context);
}
```

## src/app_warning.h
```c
/**
 * @file app_warning.h
 * @brief HISPEC warning topic wrapper.
 *
 * The reusable command dispatch layer owns warning JSON construction and
 * non-blocking outbound queueing. This app-local wrapper supplies the HISPEC
 * warning topic so handlers do not repeat topic formatting.
 *
 * Copyright (c) 2026 Caltech Optical Observatories
 * SPDX-License-Identifier: Apache-2.0
 */

#ifndef HISPEC_APP_WARNING_H
#define HISPEC_APP_WARNING_H

/**
 * @brief Emit a lightweight warning to local logs and best-effort MQTT.
 *
 * Warnings are for suspicious or degraded conditions that should be visible but
 * should not make a command fail by themselves. Emission may enqueue an outbound
 * MQTT warning and never publishes directly from the caller's context.
 *
 * @param code Short stable warning code, for example "serial_guard_active".
 * @param msg Human-readable warning text.
 * @param context Optional short context string, such as a command key.
 */
void app_warning_emit(const char *code, const char *msg, const char *context);

#endif /* HISPEC_APP_WARNING_H */
```
